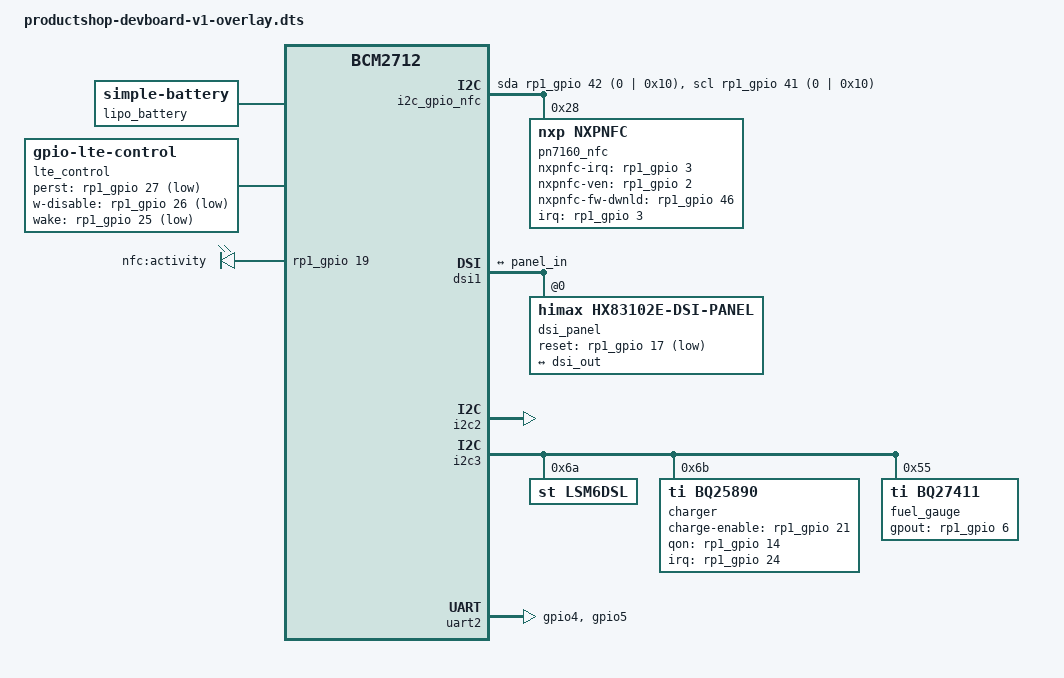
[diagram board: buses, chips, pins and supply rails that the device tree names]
/dts-v1/;
/plugin/;

/{
    compatible = "brcm,bcm2712";

    // --- Battery Definition ---
    lipo_battery: battery {
        compatible = "simple-battery";
        voltage-min-design-microvolt = <3000000>;
        voltage-max-design-microvolt = <4200000>;
        energy-full-design-microwatt-hours = <37000000>;
        charge-full-design-microamp-hours = <10000000>;
    };

    // --- FRAGMENT@0: GPIO Pin Groups ---
    fragment@0 {
        target = <&rp1_gpio>;
        __overlay__ {
            // SPI4 pins - DISABLED (SPI4 is slave-only mode)
            /*
            spi4_pins: spi4_pins {
                pins = "gpio8", "gpio9", "gpio10", "gpio11";
                function = "spi4";
            };
            */

            // Display control pins (touch removed, backlight switch removed)
            display_pins: display_pins {
                pins = "gpio17";  /* LCD_RESET */
                function = "gpio";
                bias-pull-up;
            };

            // Display PWM pin - MOVED TO SEPARATE OVERLAY
            // pwm_pins: pwm_pins {
            //     pins = "gpio18";
            //     function = "pwm0";
            // };

            // NFC pins
            nfc_pins: nfc_pin_group {
                pins = "gpio2", "gpio3", "gpio46";
                function = "gpio";
                bias-pull-up;
            };

            // LTE control pins
            lte_pins: lte_pins {
                pins = "gpio25", "gpio26", "gpio27";
                function = "gpio";
                bias-pull-up;
            };

            // PMIC/Fuel gauge pins
            pmic_pins: pmic_pins {
                pins = "gpio6", "gpio14", "gpio21", "gpio24";
                function = "gpio";
                bias-pull-up;
            };

            // NFC LED pin
            nfc_led_pin: nfc_led_pin {
                pins = "gpio19";
                function = "gpio";
                output-high;
            };
        };
    };

    // --- FRAGMENT@1: SPI4 for 12 inch display - DISABLED ---
    // NOTE: SPI4 is slave-only mode, cannot be used for display control
    /*
    fragment@1 {
        target = <&spi4>;
        __overlay__ {
            #address-cells = <1>;
            #size-cells = <0>;
            pinctrl-names = "default";
            pinctrl-0 = <&spi4_pins>;
            status = "okay";

            display_spi: display@0 {
                compatible = "panel-spi";
                reg = <0>;
                spi-max-frequency = <10000000>;
                spi-cpol;
                spi-cpha;
            };
        };
    };
    */

    // --- FRAGMENT@2: Display touchscreen I2C - DISABLED ---
    // Touch disabled due to SPI issues
    /*
    fragment@2 {
        target = <&i2c0>;
        __overlay__ {
            #address-cells = <1>;
            #size-cells = <0>;
            status = "okay";

            touchscreen@14 {
                compatible = "goodix,gt911";
                reg = <0x14>;
                pinctrl-names = "default";
                pinctrl-0 = <&display_pins>;
                interrupt-parent = <&rp1_gpio>;
                interrupts = <20 2>;
                irq-gpios = <&rp1_gpio 20 1>;
                reset-gpios = <&rp1_gpio 7 1>;
            };
        };
    };
    */

    // --- FRAGMENT@3: DSI Panel ---
    fragment@3 {
        target = <&dsi1>;
        __overlay__ {
            #address-cells = <1>;
            #size-cells = <0>;
            status = "okay";
            port {
                dsi_out: endpoint { remote-endpoint = <&panel_in>; };
            };
            dsi_panel: dsi_panel@0 {
                reg = <0>;
                compatible = "himax,hx83102e-dsi-panel";
                panel-width-mm = <142>;
                panel-height-mm = <237>;
                reset-gpios = <&rp1_gpio 17 1>;  /* LCD_RESET, GPIO_ACTIVE_LOW */
                // backlight = <&pwm_backlight>; // Moved to separate overlay
                status = "okay";
                
                display-timings {
                    native-mode = <&timing0>;
                    timing0: timing0 {
                        clock-frequency = <154000000>;
                        hactive = <1200>;
                        vactive = <2000>;
                        hfront-porch = <60>;
                        hsync-len = <8>;
                        hback-porch = <60>;
                        vfront-porch = <25>;
                        vsync-len = <2>;
                        vback-porch = <25>;
                        hsync-active = <0>;
                        vsync-active = <0>;
                        de-active = <1>;
                        pixelclk-active = <0>;
                    };
                };
                
                port {
                    panel_in: endpoint { remote-endpoint = <&dsi_out>; };
                };
            };
        };
    };
    
    // --- FRAGMENT@4: Camera I2C on i2c2 ---
    fragment@4 {
        target = <&i2c2>;
        __overlay__ {
            #address-cells = <1>;
            #size-cells = <0>;
            pinctrl-0 = <&rp1_i2c2_12_13>;
            status = "okay";
            
            // Camera sensor would go here
        };
    };

    // --- FRAGMENT@5: IMU on i2c3 ---
    fragment@5 {
        target = <&i2c3>;
        __overlay__ {
            #address-cells = <1>;
            #size-cells = <0>;
            pinctrl-0 = <&rp1_i2c3_22_23>;
            status = "okay";
            
            // IMU
            lsm6dsl: lsm6dsl@6a {
                compatible = "st,lsm6dsl";
                reg = <0x6a>;
                status = "okay";
            };
            
            // PMIC/Charger
            charger: charger@6b {
                compatible = "ti,bq25890";
                reg = <0x6b>;
                pinctrl-names = "default";
                pinctrl-0 = <&pmic_pins>;
                interrupt-parent = <&rp1_gpio>;
                interrupts = <24 2>;
                ti,battery-regulation-voltage = <4200000>;
                ti,charge-current = <3000000>;
                ti,termination-current = <200000>;
                ti,precharge-current = <300000>;
                ti,minimum-sys-voltage = <3500000>;
                ti,boost-voltage = <5000000>;
                ti,boost-max-current = <1000000>;
                ti,input-current-limit = <3000000>;
                charge-enable-gpios = <&rp1_gpio 21 0>;
                qon-gpios = <&rp1_gpio 14 0>;
                status = "okay";
            };
            
            // Fuel Gauge
            fuel_gauge: fuel_gauge@55 {
                compatible = "ti,bq27411";
                reg = <0x55>;
                monitored-battery = <&lipo_battery>;
                gpout-gpios = <&rp1_gpio 6 0>;
                status = "okay";
            };
        };
    };

    // --- FRAGMENT@6: NFC using GPIO42/41 for I2C ---
    fragment@6 {
        target = <&i2c_gpio_nfc>;
        __overlay__ {
            #address-cells = <1>;
            #size-cells = <0>;
            status = "okay";
            
            pn7160_nfc: nfc@28 {
                compatible = "nxp,nxpnfc";
                reg = <0x28>;
                status = "okay";
                pinctrl-names = "default";
                pinctrl-0 = <&nfc_pins>;
                
                interrupt-parent = <&rp1_gpio>;
                interrupts = <3 8>;
                nxp,nxpnfc-irq = <&rp1_gpio 3 0>;
                nxp,nxpnfc-ven = <&rp1_gpio 2 0>;
                nxp,nxpnfc-fw-dwnld = <&rp1_gpio 46 0>;
            };
        };
    };

    // --- FRAGMENT@7: GPIO I2C for NFC ---
    fragment@7 {
        target-path = "/";
        __overlay__ {
            i2c_gpio_nfc: i2c-gpio-nfc {
                compatible = "i2c-gpio";
                sda-gpios = <&rp1_gpio 42 (0 | 0x10)>;
                scl-gpios = <&rp1_gpio 41 (0 | 0x10)>;
                i2c-gpio,delay-us = <2>;
                #address-cells = <1>;
                #size-cells = <0>;
            };
        };
    };

    // --- FRAGMENT@8: LTE UART on UART2 ---
    fragment@8 {
        target = <&uart2>;
        __overlay__ {
            pinctrl-names = "default";
            pinctrl-0 = <&uart2_pins>;
            status = "okay";
        };
    };

    // --- FRAGMENT@9: UART2 pins configuration ---
    fragment@9 {
        target = <&rp1_gpio>;
        __overlay__ {
            uart2_pins: uart2_pins {
                pins = "gpio4", "gpio5";
                function = "uart2";
            };
        };
    };

    // --- FRAGMENT@10: LTE control GPIOs ---
    fragment@10 {
        target-path = "/";
        __overlay__ {
            lte_control {
                compatible = "gpio-lte-control";
                pinctrl-names = "default";
                pinctrl-0 = <&lte_pins>;
                perst-gpios = <&rp1_gpio 27 1>;
                w-disable-gpios = <&rp1_gpio 26 1>;
                wake-gpios = <&rp1_gpio 25 1>;
            };
        };
    };

    // --- PWM Controller for GPIO18 - MOVED TO SEPARATE OVERLAY ---
    // fragment@A_pwm_controller {
    //     target = <&rp1_pwm0>;
    //     __overlay__ {
    //         pinctrl-names = "default";
    //         pinctrl-0 = <&pwm_pins>;
    //         status = "okay";
    //     };
    // };

    // --- PWM Backlight Control - MOVED TO SEPARATE OVERLAY ---
    // fragment@B_backlight {
    //     target-path = "/";
    //     __overlay__ {
    //         pwm_backlight: backlight {
    //             compatible = "pwm-backlight";
    //             pwms = <&rp1_pwm0 0 20000 0>; /* PWM0 channel 0, 20000ns period (50kHz), normal polarity */
    //             brightness-levels = <0 4 8 16 32 48 64 96 128 160 192 224 240 255>;
    //             default-brightness-level = <10>; /* 75% brightness */
    //             status = "okay";
    //         };
    //     };
    // };

    // --- FRAGMENT@13: NFC LED ---
    fragment@13 {
        target-path = "/";
        __overlay__ {
            nfc_led {
                compatible = "gpio-leds";
                pinctrl-names = "default";
                pinctrl-0 = <&nfc_led_pin>;
                
                led@0 {
                    label = "nfc:activity";
                    gpios = <&rp1_gpio 19 0>;
                    default-state = "off";
                };
            };
        };
    };

    // --- FRAGMENT@14: USB3 for LTE module - DISABLED ---
    // Note: xhci node not found in device tree
    /*
    fragment@14 {
        target = <&xhci>;
        __overlay__ {
            status = "okay";
        };
    };
    */

    // --- Overrides Section - DISABLED ---
    // Note: References to undefined labels causing issues
    /*
    __overrides__ {
        touch_invert_x = <&touchscreen>,"touchscreen-inverted-x?";
        touch_invert_y = <&touchscreen>,"touchscreen-inverted-y?";
        touch_size_x = <&touchscreen>,"touchscreen-size-x:0";
        touch_size_y = <&touchscreen>,"touchscreen-size-y:0";
        lsm6dsl = <0>,"+5";
        nfc = <0>,"+6";
        lte = <0>,"+8","+10";
    };
    */
};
